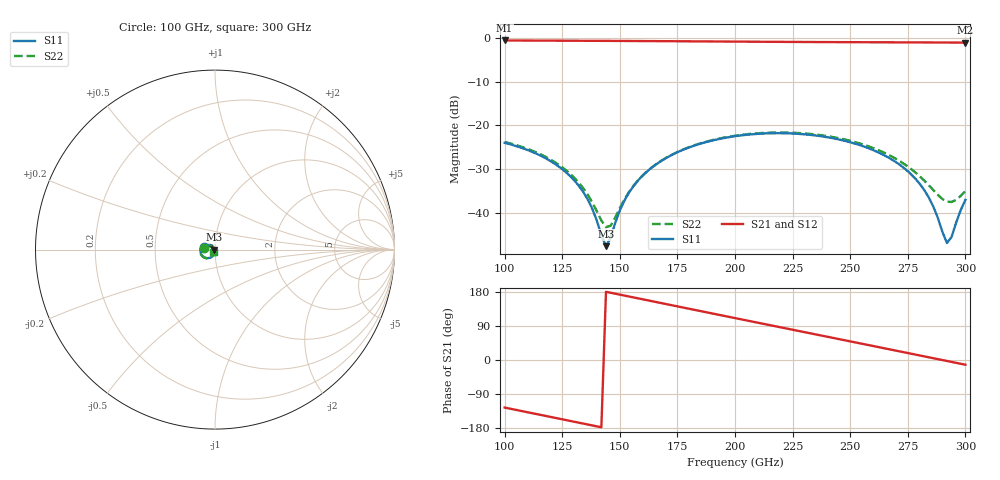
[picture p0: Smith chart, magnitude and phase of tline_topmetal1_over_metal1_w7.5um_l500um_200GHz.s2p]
#  GHZ S DB R 50
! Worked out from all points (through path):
!   101 points, 100 GHz to 300 GHz, reference 50 ohm
!   highest |S21| = -0.64 dB at 100 GHz (marker M1); lowest = -1.1 dB at 300 GHz (marker M2)
!   group delay of S21, straight-line fit = 3.43 ps
!   lowest |S11| = -47.5 dB at 144 GHz (marker M3), VSWR 1.01, Z = 49.6 - j0.0824 ohm
!   |S11| at or under -10 dB: start of sweep to end of sweep
!   |S22| runs from -43.2 to -21.6 dB; largest |S21 - S12| = 1e-14
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100  -23.99 167.7  -0.64 -125.5  -0.64 -125.5  -23.78 170.6
120  -28.15 143.4  -0.69 -150.3  -0.69 -150.3  -27.80 148.0
128  -31.33 135.6  -0.70 -160.2  -0.70 -160.2  -30.82 141.8
134  -35.07 132.6  -0.72 -167.6  -0.72 -167.6  -34.23 141.0
138  -38.94 135.5  -0.72 -172.6  -0.72 -172.6  -37.50 146.1
144  -47.53 -168.6  -0.74 180.0  -0.74 180.0  -43.20 -172.1
146  -45.68 -130.4  -0.74 177.5  -0.74 177.5  -42.87 -146.4
150  -39.38 -104.8  -0.75 172.5  -0.75 172.5  -38.84 -116.4
154  -35.31 -101.1  -0.76 167.6  -0.76 167.6  -35.18 -107.9
160  -31.40 -103.6  -0.78 160.1  -0.78 160.1  -31.37 -107.0
168  -28.09 -110.9  -0.80 150.2  -0.80 150.2  -28.06 -112.2
182  -24.67 -126.6  -0.84 132.8  -0.84 132.8  -24.60 -126.0
200  -22.47 -147.9  -0.90 110.6  -0.90 110.6  -22.36 -145.9
216  -21.79 -166.9  -0.95 90.9  -0.95 90.9  -21.64 -163.9
234  -22.24 171.7  -1.00 68.8  -1.00 68.8  -22.02 176.2
252  -24.14 150.9  -1.04 46.7  -1.04 46.7  -23.79 157.7
268  -27.76 133.7  -1.07 27.0  -1.07 27.0  -27.08 144.6
282  -34.61 124.5  -1.09 9.7  -1.09 9.7  -32.50 144.9
286  -38.40 127.7  -1.10 4.8  -1.10 4.8  -34.69 152.3
292  -46.82 -179.8  -1.11 -2.6  -1.11 -2.6  -37.38 179.5
294  -45.43 -141.6  -1.12 -5.1  -1.12 -5.1  -37.46 -167.8
300  -37.00 -109.9  -1.13 -12.5  -1.13 -12.5  -34.97 -138.8
